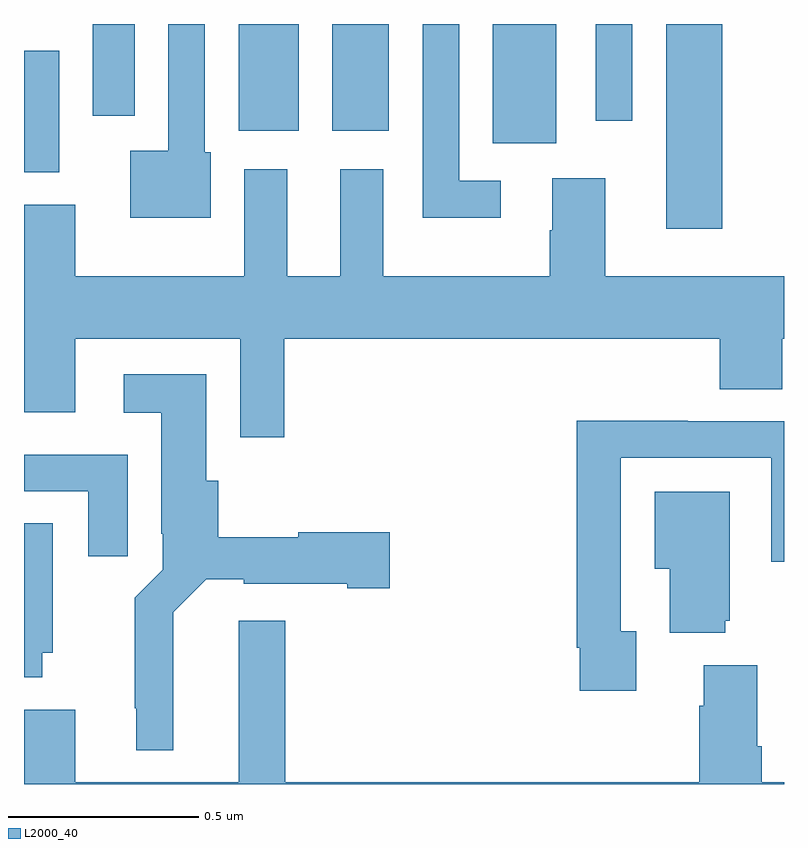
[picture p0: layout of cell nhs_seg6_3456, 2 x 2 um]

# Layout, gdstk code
import gdstk
lib = gdstk.Library(unit=1e-6, precision=1e-09)
def R(c, l, rs):  # rectangles x0, y0, x1, y1
    for r in rs: c.add(gdstk.rectangle(r[:2], r[2:], *l))
def P(c, l, *ps):  # polygons
    for p in ps: c.add(gdstk.Polygon(p, *l))
L2000_40 = (2000, 40)

nhs_seg6_3456 = lib.new_cell('nhs_seg6_3456')
R(nhs_seg6_3456, L2000_40, [(158.69,944.961,158.837,945.5), (157,945.11,157.093,945.43), (158.234,945.186,158.401,945.5), (157.565,945.219,157.723,945.5), (157.811,945.219,157.96,945.5), (158.505,945.246,158.601,945.5), (157.181,945.258,157.291,945.5)])
P(nhs_seg6_3456, L2000_40, [(157.492,945.162),(157.476,945.162),(157.476,945.5),(157.38,945.5),(157.38,945.166),(157.28,945.166),(157.28,944.99),(157.492,944.99)],
  [(158.254,945.087),(158.145,945.087),(158.145,945.5),(158.049,945.5),(158.049,944.99),(158.254,944.99)],
  [(157.685,944.672),(158.831,944.672),(158.831,944.539),(158.996,944.539),(158.996,944.672),(159,944.672),(159,944.836),(158.53,944.836),(158.53,945.094),(158.39,945.094),(158.39,944.957),(158.383,944.957),(158.383,944.836),(157.945,944.836),(157.945,945.118),(157.832,945.118),(157.832,944.836),(157.693,944.836),(157.693,945.118),(157.58,945.118),(157.58,944.836),(157.135,944.836),(157.135,945.025),(157,945.025),(157,944.478),(157.135,944.478),(157.135,944.672),(157.569,944.672),(157.569,944.412),(157.685,944.412)],
  [(157.393,943.952),(157.479,944.039),(157.578,944.039),(157.578,944.027),(157.85,944.027),(157.85,944.015),(157.963,944.015),(157.963,944.162),(157.722,944.162),(157.722,944.149),(157.511,944.149),(157.511,944.298),(157.48,944.298),(157.48,944.578),(157.263,944.578),(157.263,944.477),(157.361,944.477),(157.361,944.158),(157.365,944.158),(157.365,944.064),(157.291,943.99),(157.291,943.699),(157.295,943.699),(157.295,943.589),(157.393,943.589)],
  [(158.611,943.902),(158.571,943.902),(158.571,944.358),(158.967,944.358),(158.967,944.085),(159,944.085),(159,944.454),(158.747,944.454),(158.747,944.456),(158.455,944.456),(158.455,943.858),(158.463,943.858),(158.463,943.746),(158.611,943.746)],
  [(157.273,944.367),(157,944.367),(157,944.271),(157.169,944.271),(157.169,944.1),(157.273,944.1)],
  [(158.846,943.929),(158.857,943.929),(158.857,944.269),(158.66,944.269),(158.66,944.066),(158.699,944.066),(158.699,943.898),(158.846,943.898)],
  [(157.048,943.845),(157.075,943.845),(157.075,944.186),(157,944.186),(157,943.781),(157.048,943.781)],
  [(159,943.504),(158.942,943.504),(158.942,943.6),(158.929,943.6),(158.929,943.813),(158.789,943.813),(158.789,943.706),(158.777,943.706),(158.777,943.504),(157.688,943.504),(157.688,943.93),(157.565,943.93),(157.565,943.504),(157.135,943.504),(157.135,943.696),(157,943.696),(157,943.5),(159,943.5)])

lib.write_gds('nhs_seg6_3456.gds')
